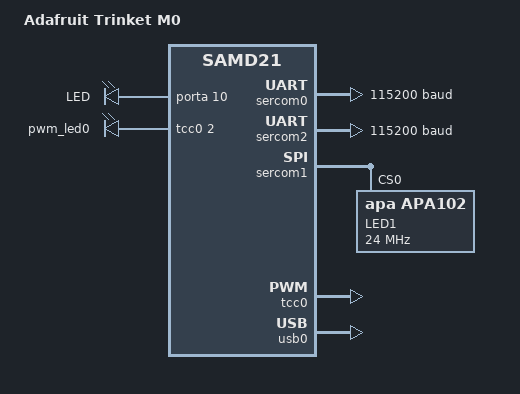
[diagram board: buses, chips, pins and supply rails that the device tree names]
/*
 * Copyright (c) 2018 Google LLC.
 *
 * SPDX-License-Identifier: Apache-2.0
 */

/dts-v1/;
#include <atmel/samd21.dtsi>
#include "adafruit_trinket_m0-pinctrl.dtsi"

/ {
	model = "Adafruit Trinket M0";
	compatible = "adafruit,trinket-m0", "atmel,samd21e18a", "atmel,samd21";

	chosen {
		zephyr,console = &sercom0;
		zephyr,shell-uart = &sercom0;
		zephyr,sram = &sram0;
		zephyr,flash = &flash0;
		zephyr,code-partition = &code_partition;
	};

	/* These aliases are provided for compatibility with samples */
	aliases {
		led0 = &led0;
		pwm-led0 = &pwm_led0;
	};

	leds {
		compatible = "gpio-leds";
		led0: led_0 {
			gpios = <&porta 10 0>;
			label = "LED";
		};
	};

	pwmleds {
		compatible = "pwm-leds";

		pwm_led0: pwm_led_0 {
			pwms = <&tcc0 2 PWM_MSEC(20)>;
		};
	};
};

&cpu0 {
	clock-frequency = <48000000>;
};

&sercom0 {
	status = "okay";
	compatible = "atmel,sam0-uart";
	current-speed = <115200>;
	rxpo = <3>;
	txpo = <1>;

	pinctrl-0 = <&sercom0_uart_default>;
	pinctrl-names = "default";
};

&sercom2 {
	status = "okay";
	compatible = "atmel,sam0-uart";
	current-speed = <115200>;
	rxpo = <1>;
	txpo = <0>;

	pinctrl-0 = <&sercom2_uart_default>;
	pinctrl-names = "default";
};

/* Drives the on-board DotStar LED */
&sercom1 {
	status = "okay";
	compatible = "atmel,sam0-spi";
	dipo = <2>;
	dopo = <0>;
	#address-cells = <1>;
	#size-cells = <0>;

	pinctrl-0 = <&sercom1_spi_default>;
	pinctrl-names = "default";

	led1: apa102@0 {
		compatible = "apa,apa102";
		reg = <0>;
		spi-max-frequency = <24000000>;
		label = "LED1";
	};
};

&tcc0 {
	status = "okay";
	compatible = "atmel,sam0-tcc-pwm";
	/* Gives a maximum period of 1.4 s */
	prescaler = <4>;
	#pwm-cells = <2>;

	pinctrl-0 = <&pwm_default>;
	pinctrl-names = "default";
};

&flash0 {
	partitions {
		compatible = "fixed-partitions";
		#address-cells = <1>;
		#size-cells = <1>;

		boot_partition: partition@0 {
			label = "uf2";
			reg = <0x00000000 0x2000>;
			read-only;
		};

		code_partition: partition@2000 {
			label = "code";
			reg = <0x2000 0x3A000>;
			read-only;
		};

		/*
		 * The final 16 KiB is reserved for the application.
		 * Storage partition will be used by FCB/LittleFS/NVS
		 * if enabled.
		 */
		storage_partition: partition@3c000 {
			label = "storage";
			reg = <0x0003c000 0x00004000>;
		};
	};
};

zephyr_udc0: &usb0 {
	status = "okay";

	pinctrl-0 = <&usb_dc_default>;
	pinctrl-names = "default";
};
